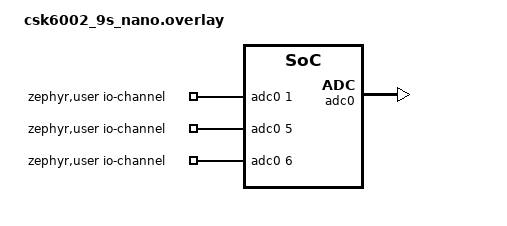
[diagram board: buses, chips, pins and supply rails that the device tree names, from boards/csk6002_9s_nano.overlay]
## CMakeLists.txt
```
# SPDX-License-Identifier: Apache-2.0

cmake_minimum_required(VERSION 3.20.0)

set(SUPPORT_BOARDS csk6012_nano csk6011a_nano)
if(NOT ${BOARD} IN_LIST SUPPORT_BOARDS)
    message("Please choose one of the following boards:")
    foreach(item ${SUPPORT_BOARDS})
        message(STATUS ${item})
    endforeach()
    message(FATAL_ERROR "\nThe project does not support the ${BOARD}")
endif()

find_package(Zephyr HINTS $ENV{ZEPHYR_BASE})
project(ADC)

target_sources(app PRIVATE src/main.c)
```

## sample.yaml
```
tests:
  sample.board.csk6.driver.adc:
    platform_allow: csk6011a_nano
    tags: csk6
    harness: console
    timeout: 10
    harness_config:
      type: one_line
      regex:
        - "adc\\(\\d*\\)\\=\\s\\d*\\smV"
```

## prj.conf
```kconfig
CONFIG_ADC=y
CONFIG_LOG=y
CONFIG_LOG_MODE_MINIMAL=y
```

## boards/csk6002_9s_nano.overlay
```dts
/*
 * SPDX-License-Identifier: Apache-2.0
 *
 * Copyright (c) 2021 STMicroelectronics
 */

&csk6002_9s_nano_pinctrl{
                /* ADC alternate function */
                pinctrl_adc0_ch0_default: adc0_ch0_default{

                };
                
                pinctrl_adc0_ch1_default: adc0_ch1_default{
					pinctrls = <GPADC_1_GPIOB_07>;
                };

                pinctrl_adc0_ch2_default: adc0_ch2_default{
                };

};

/ {
    zephyr,user {
        io-channels = <&adc0 1>, <&adc0 5>, <&adc0 6>;
    };
};

&adc0 {
		pinctrl-0 = <&pinctrl_adc0_ch1_default>; 
        pinctrl-names = "default";
        status = "okay";
};
```

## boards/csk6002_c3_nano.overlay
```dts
/*
 * SPDX-License-Identifier: Apache-2.0
 *
 * Copyright (c) 2021 STMicroelectronics
 */

&pinctrl {
                /* ADC alternate function */
                pinctrl_adc0_ch0_default: adc0_ch0_default{

                };
                
                pinctrl_adc0_ch1_default: adc0_ch1_default{
					pinctrls = <GPADC_1_GPIOB_07>;
                };

                pinctrl_adc0_ch2_default: adc0_ch2_default{
                };

};

/ {
    zephyr,user {
        io-channels = <&adc0 1>, <&adc0 5>, <&adc0 6>;
    };
};

&adc0 {
		pinctrl-0 = <&pinctrl_adc0_ch1_default>; 
        pinctrl-names = "default";
        status = "okay";
};
```

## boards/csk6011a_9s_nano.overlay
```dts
/*
 * SPDX-License-Identifier: Apache-2.0
 *
 * Copyright (c) 2021 STMicroelectronics
 */

&csk6011a_9s_nano_pinctrl{
                /* ADC alternate function */
                pinctrl_adc0_ch0_default: adc0_ch0_default{

                };
                
                pinctrl_adc0_ch1_default: adc0_ch1_default{
					pinctrls = <GPADC_1_GPIOB_07>;
                };

                pinctrl_adc0_ch2_default: adc0_ch2_default{
                };

};

/ {
    zephyr,user {
        io-channels = <&adc0 1>, <&adc0 5>, <&adc0 6>;
    };
};

&adc0 {
		pinctrl-0 = <&pinctrl_adc0_ch1_default>; 
        pinctrl-names = "default";
        status = "okay";
};
```

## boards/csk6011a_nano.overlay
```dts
/*
 * Copyright (c) 2023 Anhui(Shenzhen) Listenai Co., Ltd.
 *
 * SPDX-License-Identifier: Apache-2.0
 */
&pinctrl {
                /* ADC alternate function */
                pinctrl_adc0_ch0_default: adc0_ch0_default{
                    pinctrls = <GPADC_0_GPIOB_06>;
                };
                
                pinctrl_adc0_ch1_default: adc0_ch1_default{
					pinctrls = <GPADC_1_GPIOB_07>;
                };

                pinctrl_adc0_ch2_default: adc0_ch2_default{
                    pinctrls = <GPADC_2_GPIOB_08>;
                };

                pinctrl_adc0_ch3_default: adc0_ch3_default{
                    pinctrls = <GPADC_3_GPIOB_09>;
                };

};

/ {
    zephyr,user {
        io-channels = <&adc0 1>, <&adc0 2>, <&adc0 3>;
    };
};

&adc0 {
		pinctrl-0 = <&pinctrl_adc0_ch1_default &pinctrl_adc0_ch2_default &pinctrl_adc0_ch3_default>; 
        pinctrl-names = "default";
        status = "okay";
};
```

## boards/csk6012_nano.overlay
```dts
/*
 * Copyright (c) 2023 Anhui(Shenzhen) Listenai Co., Ltd.
 *
 * SPDX-License-Identifier: Apache-2.0
 */
 &pinctrl {
	/* ADC alternate function */
	pinctrl_adc0_ch0_default: adc0_ch0_default{
		pinctrls = <GPADC_0_GPIOB_06>;
	};
	
	pinctrl_adc0_ch1_default: adc0_ch1_default{
		pinctrls = <GPADC_1_GPIOB_07>;
	};

	pinctrl_adc0_ch2_default: adc0_ch2_default{
		pinctrls = <GPADC_2_GPIOB_08>;
	};
};

/ {
	zephyr,user {
		io-channels = <&adc0 0>, <&adc0 1>, <&adc0 2>;
	};
};

&adc0 {
	pinctrl-0 = <&pinctrl_adc0_ch0_default &pinctrl_adc0_ch1_default &pinctrl_adc0_ch2_default>; 
	pinctrl-names = "default";
	status = "okay";
};
```

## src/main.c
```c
/*
 * Copyright (c) 2023 Anhui(Shenzhen) Listenai Co., Ltd.
 *
 * SPDX-License-Identifier: Apache-2.0
 */

#include <drivers/adc.h>
#include <sys/printk.h>
#include <zephyr.h>

#if !DT_NODE_EXISTS(DT_PATH(zephyr_user)) || !DT_NODE_HAS_PROP(DT_PATH(zephyr_user), io_channels)
#error "No suitable devicetree overlay specified"
#endif

#define ADC_NUM_CHANNELS DT_PROP_LEN(DT_PATH(zephyr_user), io_channels)

#if ADC_NUM_CHANNELS > 3
#error "Currently only 1 or 2 channels supported in this sample"
#endif

#define ADC_NODE DT_PHANDLE(DT_PATH(zephyr_user), io_channels)

/* Common settings supported by most ADCs */
#define ADC_RESOLUTION 11
#define ADC_GAIN       ADC_GAIN_1
#define ADC_REFERENCE  ADC_REF_INTERNAL

/* Get the numbers of up to two channels */
static uint8_t channel_ids[ADC_NUM_CHANNELS] = {
	DT_IO_CHANNELS_INPUT_BY_IDX(DT_PATH(zephyr_user), 0),
#if ADC_NUM_CHANNELS == 2
	DT_IO_CHANNELS_INPUT_BY_IDX(DT_PATH(zephyr_user), 1)
#endif

#if ADC_NUM_CHANNELS == 3
		DT_IO_CHANNELS_INPUT_BY_IDX(DT_PATH(zephyr_user), 1),
	DT_IO_CHANNELS_INPUT_BY_IDX(DT_PATH(zephyr_user), 2)
#endif
};

static int16_t sample_buffer[ADC_NUM_CHANNELS];

struct adc_channel_cfg channel_cfg = {
	.gain = ADC_GAIN_1,
	.reference = ADC_REFERENCE,
	.channel_id = 0,
};

struct adc_sequence sequence = {
	/* individual channels will be added below */
	.channels = 0,
	.buffer = sample_buffer,
	/* buffer size in bytes, not number of samples */
	.buffer_size = sizeof(sample_buffer),
	.resolution = ADC_RESOLUTION,
};

void main(void)
{
	int err;
	const struct device *dev_adc = DEVICE_DT_GET(ADC_NODE);

	printk("ADC Sample start\n");

	if (!device_is_ready(dev_adc)) {
		printk("ADC device not found\n");
		return;
	}

	/*
	 * Configure channels individually prior to sampling
	 */
	for (uint8_t i = 0; i < ADC_NUM_CHANNELS; i++) {
		channel_cfg.channel_id = channel_ids[i];

		adc_channel_setup(dev_adc, &channel_cfg);

		sequence.channels |= BIT(channel_ids[i]);
	}

	int32_t adc_vref = adc_ref_internal(dev_adc);

	printk("adc_vref %d.\n", adc_vref);

	while (1) {
		/*
		 * Read sequence of channels (fails if not supported by MCU)
		 */
		err = adc_read(dev_adc, &sequence);
		if (err != 0) {
			printk("ADC reading failed with error %d.\n", err);
			return;
		}

		for (uint8_t i = 0; i < ADC_NUM_CHANNELS; i++) {
			int32_t raw_value = sample_buffer[i];

			if (adc_vref > 0) {
				/*
				 * Convert raw reading to millivolts if driver
				 * supports reading of ADC reference voltage
				 */
				int32_t mv_value = raw_value - 2048;

				adc_raw_to_millivolts(adc_vref, ADC_GAIN_1, ADC_RESOLUTION,
						      &mv_value);
				printk(" adc(%d)= %d mV  ", raw_value, mv_value);
			}
		}
		printk("\n");

		k_sleep(K_MSEC(5000));
	}
}
```
